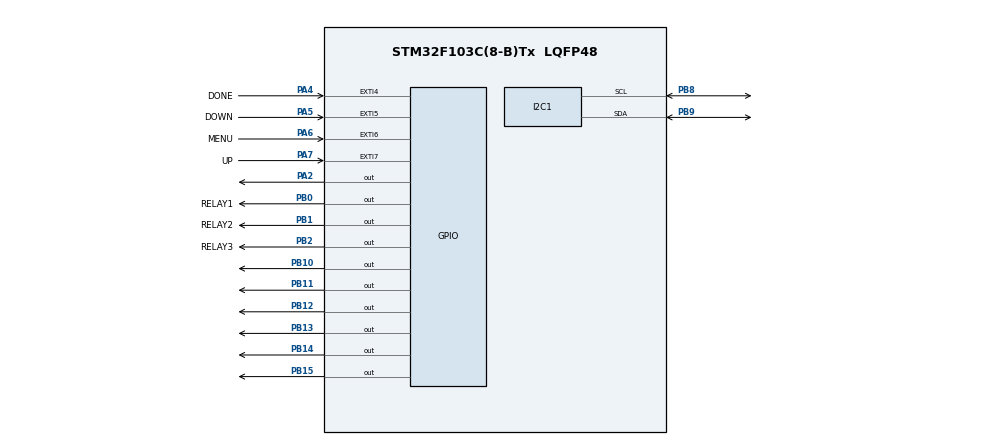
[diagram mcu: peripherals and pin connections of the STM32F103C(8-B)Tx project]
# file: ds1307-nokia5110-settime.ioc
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Dma.I2C1_RX.0.Direction=DMA_PERIPH_TO_MEMORY
Dma.I2C1_RX.0.Instance=DMA1_Channel7
Dma.I2C1_RX.0.MemDataAlignment=DMA_MDATAALIGN_BYTE
Dma.I2C1_RX.0.MemInc=DMA_MINC_ENABLE
Dma.I2C1_RX.0.Mode=DMA_CIRCULAR
Dma.I2C1_RX.0.PeriphDataAlignment=DMA_PDATAALIGN_BYTE
Dma.I2C1_RX.0.PeriphInc=DMA_PINC_DISABLE
Dma.I2C1_RX.0.Priority=DMA_PRIORITY_LOW
Dma.Request0=I2C1_RX
Mcu.Family=STM32F1
Mcu.Name=STM32F103C(8-B)Tx
Mcu.Package=LQFP48
NVIC.DMA1_Channel7_IRQn=true\:0\:0\:false\:false\:true\:false
NVIC.EXTI4_IRQn=true\:0\:0\:false\:false\:true\:true
NVIC.EXTI9_5_IRQn=true\:0\:0\:false\:false\:true\:true
NVIC.I2C1_EV_IRQn=true\:0\:0\:false\:false\:true\:true
NVIC.PriorityGroup=NVIC_PRIORITYGROUP_4
PA13.Mode=Serial_Wire
PA13.Signal=SYS_JTMS-SWDIO
PA14.Mode=Serial_Wire
PA14.Signal=SYS_JTCK-SWCLK
PA2.Signal=GPIO_Output
PA4.GPIO_Label=DONE
PA4.GPIO_ModeDefaultEXTI=GPIO_MODE_IT_FALLING
PA4.Signal=GPXTI4
PA5.GPIO_Label=DOWN
PA5.GPIO_ModeDefaultEXTI=GPIO_MODE_IT_FALLING
PA5.Signal=GPXTI5
PA6.GPIO_Label=MENU
PA6.GPIO_ModeDefaultEXTI=GPIO_MODE_IT_FALLING
PA6.Signal=GPXTI6
PA7.GPIO_Label=UP
PA7.GPIO_ModeDefaultEXTI=GPIO_MODE_IT_FALLING
PA7.Signal=GPXTI7
PB0.GPIO_Label=RELAY1
PB0.Signal=GPIO_Output
PB1.GPIO_Label=RELAY2
PB1.Signal=GPIO_Output
PB10.Signal=GPIO_Output
PB11.Signal=GPIO_Output
PB12.Signal=GPIO_Output
PB13.Signal=GPIO_Output
PB14.Signal=GPIO_Output
PB15.Signal=GPIO_Output
PB2.GPIO_Label=RELAY3
PB2.Signal=GPIO_Output
PB8.Mode=I2C
PB8.Signal=I2C1_SCL
PB9.Mode=I2C
PB9.Signal=I2C1_SDA
PD0-OSC_IN.Mode=HSE-External-Oscillator
PD0-OSC_IN.Signal=RCC_OSC_IN
PD1-OSC_OUT.Mode=HSE-External-Oscillator
PD1-OSC_OUT.Signal=RCC_OSC_OUT
ProjectManager.HeapSize=0x200
ProjectManager.StackSize=0x400
ProjectManager.TargetToolchain=MDK-ARM V5
RCC.APB1Freq_Value=8000000
RCC.APB2Freq_Value=8000000
board=ds1307-nokia5110-settime

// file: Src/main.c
/**
  ******************************************************************************
  * @file           : main.c
  * @brief          : Main program body
  ******************************************************************************
  ** This notice applies to any and all portions of this file
  * that are not between comment pairs USER CODE BEGIN and
  * USER CODE END. Other portions of this file, whether
  * inserted by the user or by software development tools
  * are owned by their respective copyright owners.
  *
  * COPYRIGHT(c) 2018 STMicroelectronics
  *
  * Redistribution and use in source and binary forms, with or without modification,
  * are permitted provided that the following conditions are met:
  *   1. Redistributions of source code must retain the above copyright notice,
  *      this list of conditions and the following disclaimer.
  *   2. Redistributions in binary form must reproduce the above copyright notice,
  *      this list of conditions and the following disclaimer in the documentation
  *      and/or other materials provided with the distribution.
  *   3. Neither the name of STMicroelectronics nor the names of its contributors
  *      may be used to endorse or promote products derived from this software
  *      without specific prior written permission.
  *
  * THIS SOFTWARE IS PROVIDED BY THE COPYRIGHT HOLDERS AND CONTRIBUTORS "AS IS"
  * AND ANY EXPRESS OR IMPLIED WARRANTIES, INCLUDING, BUT NOT LIMITED TO, THE
  * IMPLIED WARRANTIES OF MERCHANTABILITY AND FITNESS FOR A PARTICULAR PURPOSE ARE
  * DISCLAIMED. IN NO EVENT SHALL THE COPYRIGHT HOLDER OR CONTRIBUTORS BE LIABLE
  * FOR ANY DIRECT, INDIRECT, INCIDENTAL, SPECIAL, EXEMPLARY, OR CONSEQUENTIAL
  * DAMAGES (INCLUDING, BUT NOT LIMITED TO, PROCUREMENT OF SUBSTITUTE GOODS OR
  * SERVICES; LOSS OF USE, DATA, OR PROFITS; OR BUSINESS INTERRUPTION) HOWEVER
  * CAUSED AND ON ANY THEORY OF LIABILITY, WHETHER IN CONTRACT, STRICT LIABILITY,
  * OR TORT (INCLUDING NEGLIGENCE OR OTHERWISE) ARISING IN ANY WAY OUT OF THE USE
  * OF THIS SOFTWARE, EVEN IF ADVISED OF THE POSSIBILITY OF SUCH DAMAGE.
  *
  ******************************************************************************
  */
#include "main.h"
#include "stm32f1xx_hal.h"

/* USER CODE BEGIN Includes */

//Hung
#include "nokia_5110.h"
#include "hinh_anh.h"

#include "stdio.h" 			// Thu vien chua ham sprintf
#include "string.h"			// Thu vien chua ham strlen()

// doc ds1307
#include "ds1307.h"

/* USER CODE END Includes */

I2C_HandleTypeDef hi2c1;
DMA_HandleTypeDef hdma_i2c1_rx;

/* USER CODE BEGIN PV */
/* Private variables ---------------------------------------------------------*/

//Hung
char lcdBuff[64];
char hh, mm, ss;
char dd, DD, MM, YY;
int doDaiChuoi;

//On/Off Time
int isOn=0;
uint8_t pump_time=0;
uint8_t on_hh, on_mm, on_ss;
uint8_t on_dd, on_DD, on_MM, on_YY;
uint8_t off_hh, off_mm, off_ss;
uint8_t off_dd, off_DD, off_MM, off_YY;

char tmp_hh, tmp_mm, tmp_ss;
char tmp_dd, tmp_DD, tmp_MM, tmp_YY;

//char* MENU_LIST ="Lua chon muc de sua";
typedef enum
{
	DateType = 0x01,
	MonthType = 0x02,
	YearType = 0x03,

	HourType = 0x04,
	MinType	= 0x05,
	SecondType = 0x06,

} Menu;

typedef struct
{
	uint8_t	Date ;
	uint8_t	Month;
	uint8_t Year;

	uint8_t Hour;
	uint8_t Minute;
	uint8_t Second;

} RTCValue;

typedef enum{
	KEY_NONE = 0x00,
	KEY_UP = 0x01,
	KEY_DOWN = 0x02,
	KEY_DONE = 0x03,
} KeyType;

KeyType _key;
Menu _menu;
RTCValue _rtc;

//For debugging Hung
int count = 0;
//uint8_t menu;

//Setup MENU
uint8_t selected_menu=0;
uint8_t selected_up=0;
uint8_t selected_down=0;
uint8_t selected_done=0;

/* USER CODE END PV */

void SystemClock_Config(void);
static void MX_GPIO_Init(void);
static void MX_DMA_Init(void);
static void MX_I2C1_Init(void);

/* USER CODE BEGIN PFP */
/* Private function prototypes -----------------------------------------------*/

//Hung
void HAL_GPIO_EXTI_Callback(uint16_t GPIO_Pin);

/* USER CODE END PFP */

int main(void)
{

  /* MCU Configuration----------------------------------------------------------*/

  /* Reset of all peripherals, Initializes the Flash interface and the Systick. */
  HAL_Init();

  /* Configure the system clock */
  SystemClock_Config();

  /* Initialize all configured peripherals */
  MX_GPIO_Init();
  MX_DMA_Init();
  MX_I2C1_Init();
  /* USER CODE BEGIN 2 */
//Hung
	LCDInit(0x30, 0, 2); //(contrast, coefficent, bias)
	HAL_Delay(10);
	HAL_GPIO_WritePin(GPIOB, GPIO_PIN_15, GPIO_PIN_SET);//Chan B15 noi voi BackLight cua LCD Nokia 5110 bi thieu dien nen phai set
	LCDClear();
	//Ds1307
	// Initialize DS1307
  //rtcWriteTime(9,01, 50); //Thiet lap thoi gian
	//rtcWriteDate(1, 26, 2, 18); //Thiet lap ngay thang

	 selected_menu=0;
	  selected_up=0;
	  selected_down=0;
	  selected_done=0;

		//Init On Time
		on_ss=0;
		on_mm=0;
		on_hh=0;
		on_dd=0;
		on_DD=0;
		on_MM=0;
		on_YY=0;
		isOn=0;

  /* USER CODE END 2 */

  /* Infinite loop */
 while (1)
  {

		 gotoXY(0,0);
//		sprintf(lcdBuff, "Chao Hung");
//		doDaiChuoi = strlen(lcdBuff);   // Lay do dai cua choi trong mang buffer
//		LCDString(lcdBuff);

//		//Doc DS1307
		rtcReadTime(&hh, &mm, &ss);
//		sprintf(&lcdBuff[0], "%0.2d:%0.2d:%0.2d", hh, mm, ss);
//		gotoXY(0,1);
//		LCDString(&lcdBuff[0]);
//
		rtcReadDate(&dd, &DD, &MM, &YY);
//		sprintf(&lcdBuff[0], "%0.2d-%0.2d/%0.2d/20%0.2d", dd, DD, MM, YY);
//		gotoXY(0,2);
//		LCDString(&lcdBuff[0]);

		gotoXY(0, 0);
		sprintf(&lcdBuff[0], (hh <= 9) ? "0%d" : "%d", hh);
		LCDString(&lcdBuff[0]);
		LCDString(":");
		sprintf(&lcdBuff[0], (mm <= 9) ? "0%d" : "%d", mm);
		LCDString(&lcdBuff[0]);
		LCDString(":");
		sprintf(&lcdBuff[0], (ss <= 9) ? "0%d" : "%d", ss);
		LCDString(&lcdBuff[0]);

		gotoXY(0, 1);
		sprintf(&lcdBuff[0], (DD <= 9) ? "0%d" : "%d", DD);
		LCDString(&lcdBuff[0]);
		LCDString("/");
		sprintf(&lcdBuff[0], (MM <= 9) ? "0%d" : "%d", MM);
		LCDString(&lcdBuff[0]);
		LCDString("/");
		sprintf(&lcdBuff[0], "20%d", YY);
		LCDString(&lcdBuff[0]);

		HAL_Delay(400);

//			HAL_Delay(10000);

		//Turn On Pump on Scheduled
		if(isOn==1){
			pump_time++;

			rtcReadTime(&tmp_hh, &tmp_mm, &tmp_ss);
      rtcReadDate(&tmp_dd, &tmp_DD, &tmp_MM, &tmp_YY);

			on_hh = (uint8_t) tmp_hh;
			on_mm = (uint8_t) tmp_mm;
			on_ss = (uint8_t) tmp_ss;

//			sprintf(&on_hh, (tmp_hh <= 9) ? "0%d" : "%d", tmp_hh);
//			sprintf(&on_mm, (tmp_mm <= 9) ? "0%d" : "%d", tmp_mm);
//			sprintf(&on_ss, (tmp_ss <= 9) ? "0%d" : "%d", tmp_ss);

			gotoXY(0, 5);
			sprintf(&lcdBuff[0], (hh <= 9) ? "0%d" : "%d", hh);
			LCDString(&lcdBuff[0]);
			LCDString(":");
			sprintf(&lcdBuff[0], (mm <= 9) ? "0%d" : "%d", mm);
			LCDString(&lcdBuff[0]);
			LCDString(":");
			sprintf(&lcdBuff[0], (ss <= 9) ? "0%d" : "%d", ss);
			LCDString(&lcdBuff[0]);

			HAL_GPIO_WritePin(RELAY1_GPIO_Port, RELAY1_Pin, GPIO_PIN_SET);
			HAL_GPIO_WritePin(RELAY2_GPIO_Port, RELAY2_Pin, GPIO_PIN_SET);
			HAL_GPIO_WritePin(RELAY3_GPIO_Port, RELAY3_Pin, GPIO_PIN_SET);
			if(pump_time>50){
				gotoXY(0, 5);
				LCDString("TURN OFF PUMP");
				HAL_GPIO_WritePin(RELAY1_GPIO_Port, RELAY1_Pin, GPIO_PIN_RESET);
				HAL_GPIO_WritePin(RELAY2_GPIO_Port, RELAY2_Pin, GPIO_PIN_RESET);
				HAL_GPIO_WritePin(RELAY3_GPIO_Port, RELAY3_Pin, GPIO_PIN_RESET);
				isOn=0;
			}

//			if(mm==on_mm && hh==on_hh && DD==on_DD && MM==on_MM && YY==on_YY){
//				HAL_GPIO_WritePin(RELAY1_GPIO_Port, RELAY1_Pin, GPIO_PIN_SET);
//				HAL_Delay(10000);
//				HAL_GPIO_WritePin(RELAY1_GPIO_Port, RELAY1_Pin, GPIO_PIN_RESET);
//			}else{
//				on_ss=0;
//				on_mm=0;
//				on_hh=0;
//				on_dd=0;
//				on_DD=0;
//				on_MM=0;
//				on_YY=0;
//			}

		}else{
			on_ss=0;
			on_mm=0;
			on_hh=0;
			on_dd=0;
			on_DD=0;
			on_MM=0;
			on_YY=0;
			isOn=0;
		}

  }

}

//Hung
void HAL_GPIO_EXTI_Callback(uint16_t GPIO_Pin)
{

		//menu = HAL_GPIO_ReadPin(GPIOA,GPIO_Pin);
//		if(HAL_GPIO_ReadPin(GPIOA,GPIO_Pin)==GPIO_PIN_RESET)
//		{
			if(GPIO_Pin==MENU){
				selected_menu++;
				count++;
				//LCDClear();
				gotoXY(0,2);
				LCDString("Chon MENU:");
				gotoXY(0,3);
				LCDString("1.Set Clock Time");
				gotoXY(0,4);
				LCDString("2.Pump On/Off");
				gotoXY(0,5);
				LCDString("3.Pump Length");
				if(selected_menu>2){
					selected_down = 0;
					selected_up = 0;
					selected_done = 0;
					//selected_menu = 1;
				}
			}

			if(GPIO_Pin==DOWN){
				count++;
				//LCDClear();

				 // LCDString("                ");
				selected_down++;

				if(selected_menu){

					if(selected_down==1){
						gotoXY(0,3);
						LCDString("<Back MENU");
						gotoXY(0,4);
						LCDString("1.Set Clock");
						gotoXY(0,5);
						LCDString("             ");
					} else if(selected_down==2){
						gotoXY(0,3);
						LCDString("2.Pump On/Off");
						gotoXY(0,4);
						LCDString("             ");
						gotoXY(0,5);
						LCDString("             ");
					} else if(selected_down==3){
						gotoXY(0,3);
						LCDString("3.Pump Length");
						gotoXY(0,4);
						LCDString("<Back           ");
						gotoXY(0,5);
						LCDString("             ");

					} else if(selected_down==4){
						gotoXY(0,2);
						LCDString("Chon MENU:");
						gotoXY(0,3);
						LCDString("1.Set Clock Time");
						gotoXY(0,4);
						LCDString("2.Pump On/Off");
						gotoXY(0,5);
						LCDString("3.Pump Length");
						selected_down=0;
					}

				}else{
					gotoXY(0,3);
					LCDString("DOWN");
				}

			}

			if(GPIO_Pin==UP){
				count++;
				//LCDClear();

				selected_up++;

				if(selected_menu){
					//LCDClear();
					if(selected_down==1){

						if(selected_up>=1){

							gotoXY(0,2);
							LCDString("Chon MENU:");
							gotoXY(0,3);
							LCDString("1.Set Clock Time");
							gotoXY(0,4);
							LCDString("2.Pump On/Off");
							gotoXY(0,5);
							LCDString("3.Pump Length");

							selected_up = 0;//reset lai bien selected_up trong truong hop press nhieu lan

						}

					} else if(selected_down==2){

						if(selected_up==1){

							gotoXY(0,3);
							LCDString("<Back MENU    ");
							gotoXY(0,4);
							LCDString("1.Set Clock");
							gotoXY(0,5);
							LCDString("             ");

						}
						else if(selected_up>=2){

							gotoXY(0,2);
							LCDString("Chon MENU:");
							gotoXY(0,3);
							LCDString("1.Set Clock Time");
							gotoXY(0,4);
							LCDString("2.Pump On/Off");
							gotoXY(0,5);
							LCDString("3.Pump Length");
							selected_up = 0;//reset lai bien selected_up trong truong hop press nhieu lan

						}

					} else if(selected_down==3){

						if(selected_up==1){

							gotoXY(0,3);
							LCDString("              ");
							gotoXY(0,4);
							LCDString("2.Pump On/Off");
							gotoXY(0,5);
							LCDString("             ");

						}
						else if(selected_up==2){

							gotoXY(0,3);
							LCDString("<Back MENU");
							gotoXY(0,4);
							LCDString("1.Set Clock Time");
							gotoXY(0,5);
							LCDString("              ");

						}else if(selected_up>=3){

							gotoXY(0,2);
							LCDString("Chon MENU:");
							gotoXY(0,3);
							LCDString("1.Set Clock Time");
							gotoXY(0,4);
							LCDString("2.Pump On/Off");
							gotoXY(0,5);
							LCDString("3.Pump Length");
							//selected_up = 0;//reset lai bien selected_up trong truong hop press nhieu lan

						}

					} else if(selected_down==4){
						if(selected_up==1){

							gotoXY(0,3);
							LCDString("              ");
							gotoXY(0,4);
							LCDString("3.Pump Length");
							gotoXY(0,5);
							LCDString("             ");

						}
						else if(selected_up==2){

							gotoXY(0,3);
							LCDString("2.Pump On/Off");
							gotoXY(0,4);
							LCDString("              ");
							gotoXY(0,5);
							LCDString("              ");

						}else if(selected_up==3){

							gotoXY(0,3);
							LCDString("<Back MENU");
							gotoXY(0,4);
							LCDString("1.Set Clock Time");
							gotoXY(0,5);
							LCDString("                 ");
							//selected_up = 0;//reset lai bien selected_up trong truong hop press nhieu lan

						}else if(selected_up>3){

							gotoXY(0,2);
							LCDString("Chon MENU:");
							gotoXY(0,3);
							LCDString("1.Set Clock Time");
							gotoXY(0,4);
							LCDString("2.Pump On/Off");
							gotoXY(0,5);
							LCDString("3.Pump Length");
							selected_up = 0;//reset lai bien selected_up trong truong hop press nhieu lan

						}

					}

				} else{ //selected_menu = 0
					gotoXY(0,3);
					LCDString("UP");
				}
			}//Up Key

			if(GPIO_Pin==DONE){//TODO
				count++;
				selected_done++;
				if(selected_menu==1){
					if(selected_down==2){
						if(selected_done==1){
							isOn=1;

//							rtcReadTime(&tmp_hh, &tmp_mm, &tmp_ss);
//							rtcReadDate(&tmp_dd, &tmp_DD, &tmp_MM, &tmp_YY);
//
							gotoXY(0, 4);
							LCDString("Pump on at:");
//
//						sprintf(&on_hh, (tmp_hh <= 9) ? "0%d" : "%d", tmp_hh);
//						sprintf(&on_mm, (tmp_mm <= 9) ? "0%d" : "%d", tmp_mm+1);
//						sprintf(&on_ss, (tmp_ss <= 9) ? "0%d" : "%d", tmp_ss);
//
////							on_mm = mm+1;
////							on_hh=hh;
////							if(on_mm>59) {
////								on_hh=hh+1;
////								if(on_hh>24){
////									on_hh=1;
////									on_mm=1;
////								}
////								on_mm=1;
////							}
//							gotoXY(0, 5);
//							sprintf(&lcdBuff[0], (hh <= 9) ? "0%d" : "%d", hh);
//							LCDString(&lcdBuff[0]);
//							LCDString(":");
//							sprintf(&lcdBuff[0], (on_mm <= 9) ? "0%d" : "%d", on_mm);
//							LCDString(&lcdBuff[0]);
//							LCDString(":");
//							sprintf(&lcdBuff[0], (ss <= 9) ? "0%d" : "%d", ss);
//							LCDString(&lcdBuff[0]);
//							//on_mm=mm;
//							//on_hh=hh;
//							on_ss=ss;
//							on_dd=dd;
//							on_DD=DD;
//							on_MM=MM;
//							on_YY=YY;
							selected_done=0;//reset

						}
					}
				}else{
					LCDClear();
					gotoXY(0,3);
					LCDString("DONE!");
				}

			}

		//}

}
//End Hung

void SystemClock_Config(void)
{

  RCC_OscInitTypeDef RCC_OscInitStruct;
  RCC_ClkInitTypeDef RCC_ClkInitStruct;

    /**Initializes the CPU, AHB and APB busses clocks
    */
  RCC_OscInitStruct.OscillatorType = RCC_OSCILLATORTYPE_HSI;
  RCC_OscInitStruct.HSIState = RCC_HSI_ON;
  RCC_OscInitStruct.HSICalibrationValue = 16;
  RCC_OscInitStruct.PLL.PLLState = RCC_PLL_NONE;
  if (HAL_RCC_OscConfig(&RCC_OscInitStruct) != HAL_OK)
  {
    _Error_Handler(__FILE__, __LINE__);
  }

    /**Initializes the CPU, AHB and APB busses clocks
    */
  RCC_ClkInitStruct.ClockType = RCC_CLOCKTYPE_HCLK|RCC_CLOCKTYPE_SYSCLK
                              |RCC_CLOCKTYPE_PCLK1|RCC_CLOCKTYPE_PCLK2;
  RCC_ClkInitStruct.SYSCLKSource = RCC_SYSCLKSOURCE_HSI;
  RCC_ClkInitStruct.AHBCLKDivider = RCC_SYSCLK_DIV1;
  RCC_ClkInitStruct.APB1CLKDivider = RCC_HCLK_DIV1;
  RCC_ClkInitStruct.APB2CLKDivider = RCC_HCLK_DIV1;

  if (HAL_RCC_ClockConfig(&RCC_ClkInitStruct, FLASH_LATENCY_0) != HAL_OK)
  {
    _Error_Handler(__FILE__, __LINE__);
  }

    /**Configure the Systick interrupt time
    */
  HAL_SYSTICK_Config(HAL_RCC_GetHCLKFreq()/1000);

    /**Configure the Systick
    */
  HAL_SYSTICK_CLKSourceConfig(SYSTICK_CLKSOURCE_HCLK);

  /* SysTick_IRQn interrupt configuration */
  HAL_NVIC_SetPriority(SysTick_IRQn, 0, 0);
}

/* I2C1 init function */
static void MX_I2C1_Init(void)
{

  hi2c1.Instance = I2C1;
  hi2c1.Init.ClockSpeed = 100000;
  hi2c1.Init.DutyCycle = I2C_DUTYCYCLE_2;
  hi2c1.Init.OwnAddress1 = 0;
  hi2c1.Init.AddressingMode = I2C_ADDRESSINGMODE_7BIT;
  hi2c1.Init.DualAddressMode = I2C_DUALADDRESS_DISABLE;
  hi2c1.Init.OwnAddress2 = 0;
  hi2c1.Init.GeneralCallMode = I2C_GENERALCALL_DISABLE;
  hi2c1.Init.NoStretchMode = I2C_NOSTRETCH_DISABLE;
  if (HAL_I2C_Init(&hi2c1) != HAL_OK)
  {
    _Error_Handler(__FILE__, __LINE__);
  }

}

static void MX_DMA_Init(void)
{
  /* DMA controller clock enable */
  __HAL_RCC_DMA1_CLK_ENABLE();

  /* DMA interrupt init */
  /* DMA1_Channel7_IRQn interrupt configuration */
  HAL_NVIC_SetPriority(DMA1_Channel7_IRQn, 0, 0);
  HAL_NVIC_EnableIRQ(DMA1_Channel7_IRQn);

}

/** Configure pins as
        * Analog
        * Input
        * Output
        * EVENT_OUT
        * EXTI
*/
static void MX_GPIO_Init(void)
{

  GPIO_InitTypeDef GPIO_InitStruct;

  /* GPIO Ports Clock Enable */
  __HAL_RCC_GPIOD_CLK_ENABLE();
  __HAL_RCC_GPIOA_CLK_ENABLE();
  __HAL_RCC_GPIOB_CLK_ENABLE();

  /*Configure GPIO pin Output Level */
  HAL_GPIO_WritePin(GPIOA, GPIO_PIN_2, GPIO_PIN_RESET);

  /*Configure GPIO pin Output Level */
  HAL_GPIO_WritePin(GPIOB, RELAY1_Pin|RELAY2_Pin|RELAY3_Pin|GPIO_PIN_10
                          |GPIO_PIN_11|GPIO_PIN_12|GPIO_PIN_13|GPIO_PIN_14
                          |GPIO_PIN_15, GPIO_PIN_RESET);

  /*Configure GPIO pin : PA2 */
  GPIO_InitStruct.Pin = GPIO_PIN_2;
  GPIO_InitStruct.Mode = GPIO_MODE_OUTPUT_PP;
  GPIO_InitStruct.Speed = GPIO_SPEED_FREQ_LOW;
  HAL_GPIO_Init(GPIOA, &GPIO_InitStruct);

  /*Configure GPIO pins : DONE_Pin DOWN_Pin MENU_Pin UP_Pin */
  GPIO_InitStruct.Pin = DONE_Pin|DOWN_Pin|MENU_Pin|UP_Pin;
  GPIO_InitStruct.Mode = GPIO_MODE_IT_FALLING;
  GPIO_InitStruct.Pull = GPIO_NOPULL;
  HAL_GPIO_Init(GPIOA, &GPIO_InitStruct);

  /*Configure GPIO pins : RELAY1_Pin RELAY2_Pin RELAY3_Pin PB10
                           PB11 PB12 PB13 PB14
                           PB15 */
  GPIO_InitStruct.Pin = RELAY1_Pin|RELAY2_Pin|RELAY3_Pin|GPIO_PIN_10
                          |GPIO_PIN_11|GPIO_PIN_12|GPIO_PIN_13|GPIO_PIN_14
                          |GPIO_PIN_15;
  GPIO_InitStruct.Mode = GPIO_MODE_OUTPUT_PP;
  GPIO_InitStruct.Speed = GPIO_SPEED_FREQ_LOW;
  HAL_GPIO_Init(GPIOB, &GPIO_InitStruct);

  /* EXTI interrupt init*/
  HAL_NVIC_SetPriority(EXTI4_IRQn, 0, 0);
  HAL_NVIC_EnableIRQ(EXTI4_IRQn);

  HAL_NVIC_SetPriority(EXTI9_5_IRQn, 0, 0);
  HAL_NVIC_EnableIRQ(EXTI9_5_IRQn);

}

void _Error_Handler(char *file, int line)
{
  while(1)
  {
  }
}

/************************ (C) COPYRIGHT STMicroelectronics *****END OF FILE****/
